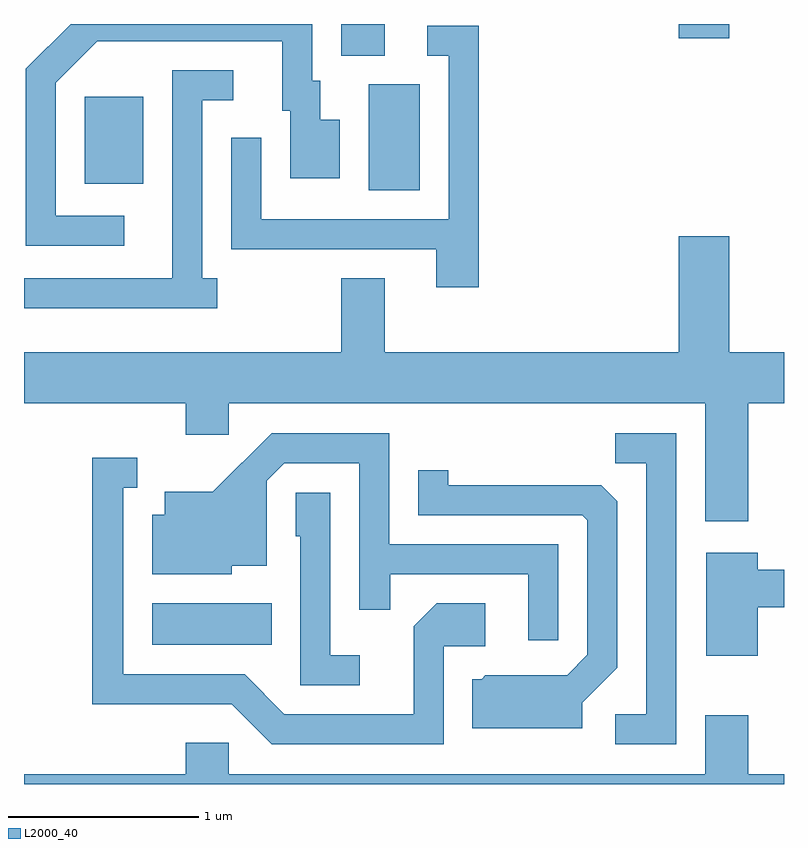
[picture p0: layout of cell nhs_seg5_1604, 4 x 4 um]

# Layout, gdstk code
import gdstk
lib = gdstk.Library(unit=1e-6, precision=1e-09)
def R(c, l, rs):  # rectangles x0, y0, x1, y1
    for r in rs: c.add(gdstk.rectangle(r[:2], r[2:], *l))
def P(c, l, *ps):  # polygons
    for p in ps: c.add(gdstk.Polygon(p, *l))
L2000_40 = (2000, 40)

nhs_seg5_1604 = lib.new_cell('nhs_seg5_1604')
R(nhs_seg5_1604, L2000_40, [(232.286,1508.806,232.914,1509.024), (233.426,1511.196,233.694,1511.754), (231.931,1511.231,232.239,1511.689), (233.281,1511.906,233.509,1512.072), (235.056,1511.996,235.324,1512.072)])
P(nhs_seg5_1604, L2000_40, [(232.138,1511.064),(231.779,1511.064),(231.779,1511.764),(231.997,1511.981),(232.971,1511.981),(232.971,1511.616),(233.011,1511.616),(233.011,1511.261),(233.274,1511.261),(233.274,1511.569),(233.169,1511.569),(233.169,1511.774),(233.129,1511.774),(233.129,1512.072),(231.857,1512.072),(231.621,1511.837),(231.621,1510.906),(232.138,1510.906)],
  [(234.004,1512.064),(233.733,1512.064),(233.733,1511.906),(233.846,1511.906),(233.846,1511.044),(232.859,1511.044),(232.859,1511.473),(232.701,1511.473),(232.701,1510.886),(233.781,1510.886),(233.781,1510.686),(234.004,1510.686)],
  [(232.628,1510.734),(232.549,1510.734),(232.549,1511.671),(232.713,1511.671),(232.713,1511.829),(232.391,1511.829),(232.391,1510.734),(231.611,1510.734),(231.611,1510.576),(232.628,1510.576)],
  [(235.324,1510.954),(235.056,1510.954),(235.056,1510.344),(233.509,1510.344),(233.509,1510.734),(233.281,1510.734),(233.281,1510.344),(231.611,1510.344),(231.611,1510.076),(232.461,1510.076),(232.461,1509.911),(232.689,1509.911),(232.689,1510.076),(235.196,1510.076),(235.196,1509.456),(235.424,1509.456),(235.424,1510.076),(235.611,1510.076),(235.611,1510.344),(235.324,1510.344)],
  [(234.424,1509.334),(233.534,1509.334),(233.534,1509.919),(232.914,1509.919),(232.604,1509.609),(232.351,1509.609),(232.351,1509.489),(232.286,1509.489),(232.286,1509.176),(232.704,1509.176),(232.704,1509.221),(232.889,1509.221),(232.889,1509.669),(232.982,1509.761),(233.376,1509.761),(233.376,1508.988),(233.539,1508.988),(233.539,1509.176),(234.266,1509.176),(234.266,1508.828),(234.424,1508.828)],
  [(235.044,1509.919),(234.723,1509.919),(234.723,1509.761),(234.886,1509.761),(234.886,1508.439),(234.723,1508.439),(234.723,1508.281),(235.044,1508.281)],
  [(233.819,1508.796),(234.039,1508.796),(234.039,1509.024),(233.784,1509.024),(233.661,1508.902),(233.661,1508.439),(232.982,1508.439),(232.772,1508.649),(232.134,1508.649),(232.134,1509.631),(232.208,1509.631),(232.208,1509.789),(231.971,1509.789),(231.971,1508.491),(232.704,1508.491),(232.914,1508.281),(233.819,1508.281)],
  [(234.549,1508.499),(234.734,1508.684),(234.734,1509.559),(234.649,1509.644),(233.844,1509.644),(233.844,1509.723),(233.686,1509.723),(233.686,1509.486),(234.549,1509.486),(234.576,1509.459),(234.576,1508.752),(234.469,1508.644),(234.039,1508.644),(234.019,1508.624),(233.971,1508.624),(233.971,1508.366),(234.549,1508.366)],
  [(233.378,1508.749),(233.224,1508.749),(233.224,1509.604),(233.041,1509.604),(233.041,1509.376),(233.066,1509.376),(233.066,1508.591),(233.378,1508.591)],
  [(235.474,1509.001),(235.611,1509.001),(235.611,1509.199),(235.474,1509.199),(235.474,1509.289),(235.201,1509.289),(235.201,1508.746),(235.474,1508.746)],
  [(235.611,1508.124),(235.424,1508.124),(235.424,1508.434),(235.196,1508.434),(235.196,1508.124),(232.689,1508.124),(232.689,1508.289),(232.461,1508.289),(232.461,1508.124),(231.611,1508.124),(231.611,1508.072),(235.611,1508.072)])

lib.write_gds('nhs_seg5_1604.gds')
